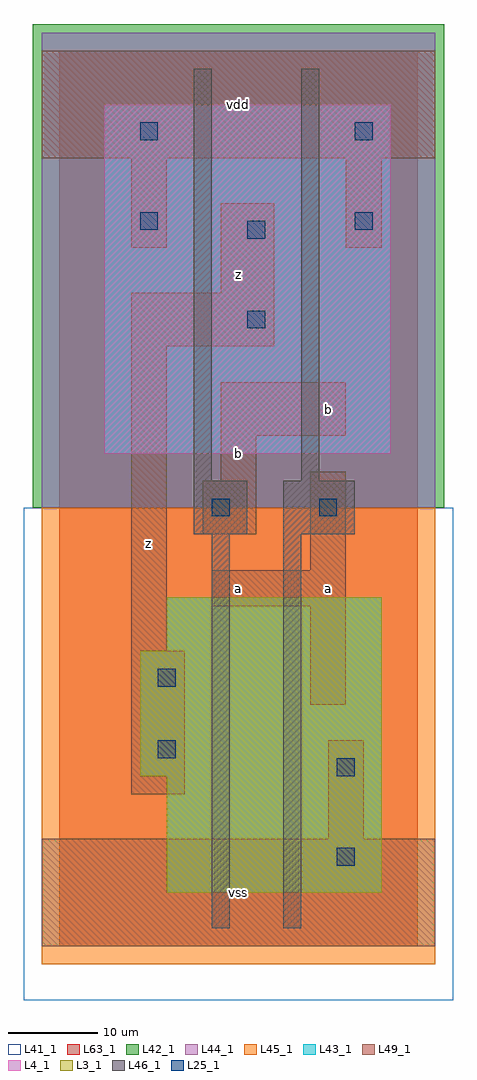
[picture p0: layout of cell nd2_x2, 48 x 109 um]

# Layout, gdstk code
import gdstk
lib = gdstk.Library(unit=1e-6, precision=1e-09)
def R(c, l, rs):  # rectangles x0, y0, x1, y1
    for r in rs: c.add(gdstk.rectangle(r[:2], r[2:], *l))
L3_1 = (3, 1)
L4_1 = (4, 1)
L25_1 = (25, 1)
L41_1 = (41, 1)
L42_1 = (42, 1)
L43_1 = (43, 1)
L44_1 = (44, 1)
L45_1 = (45, 1)
L46_1 = (46, 1)
L49_1 = (49, 1)
L63_1 = (63, 1)

nd2_x2 = lib.new_cell('nd2_x2')
R(nd2_x2, L3_1, [(12,6,36,19), (9,19,36,33), (12,33,36,39)])
R(nd2_x2, L4_1, [(5,55,37,94)])
R(nd2_x2, L25_1, [(31,9,33,11), (31,19,33,21), (11,21,13,23), (11,29,13,31), (17,48,19,50), (29,48,31,50), (21,69,23,71), (21,79,23,81), (9,80,11,82), (33,80,35,82), (9,90,11,92), (33,90,35,92)])
R(nd2_x2, L41_1, [(-4,-6,44,49), (-3,-3,43,49)])
R(nd2_x2, L42_1, [(-3,49,43,103)])
R(nd2_x2, L43_1, [(12,6,36,19), (9,19,36,33), (12,33,36,39), (5,55,37,94)])
R(nd2_x2, L44_1, [(-2,49,42,102)])
R(nd2_x2, L45_1, [(-2,-2,42,49)])
R(nd2_x2, L46_1, [(17,2,19,46), (25,2,27,46), (15,46,21,52), (25,46,33,52), (15,52,17,98), (27,52,29,98)])
R(nd2_x2, L49_1, [(-2,0,42,12), (30,12,34,23), (8,17,14,33), (28,27,32,38), (8,33,12,67), (17,38,32,42), (28,42,32,53), (16,46,22,52), (18,52,22,57), (18,57,32,63), (8,67,24,73), (18,73,24,83), (8,78,12,88), (32,78,36,88), (-2,88,42,100)])
R(nd2_x2, L63_1, [(0,0,40,100)])
nd2_x2.add(gdstk.Label('z', (10,45), layer=49, texttype=1))
nd2_x2.add(gdstk.Label('z', (10,45), layer=49, texttype=1))
nd2_x2.add(gdstk.Label('vss', (20,6), layer=49, texttype=1))
nd2_x2.add(gdstk.Label('vss', (20,6), layer=49, texttype=1))
nd2_x2.add(gdstk.Label('a', (20,40), layer=49, texttype=1))
nd2_x2.add(gdstk.Label('a', (20,40), layer=49, texttype=1))
nd2_x2.add(gdstk.Label('b', (20,55), layer=49, texttype=1))
nd2_x2.add(gdstk.Label('b', (20,55), layer=49, texttype=1))
nd2_x2.add(gdstk.Label('z', (20,75), layer=49, texttype=1))
nd2_x2.add(gdstk.Label('z', (20,75), layer=49, texttype=1))
nd2_x2.add(gdstk.Label('vdd', (20,94), layer=49, texttype=1))
nd2_x2.add(gdstk.Label('vdd', (20,94), layer=49, texttype=1))
nd2_x2.add(gdstk.Label('a', (30,40), layer=49, texttype=1))
nd2_x2.add(gdstk.Label('a', (30,40), layer=49, texttype=1))
nd2_x2.add(gdstk.Label('b', (30,60), layer=49, texttype=1))
nd2_x2.add(gdstk.Label('b', (30,60), layer=49, texttype=1))

lib.write_gds('nd2_x2.gds')
